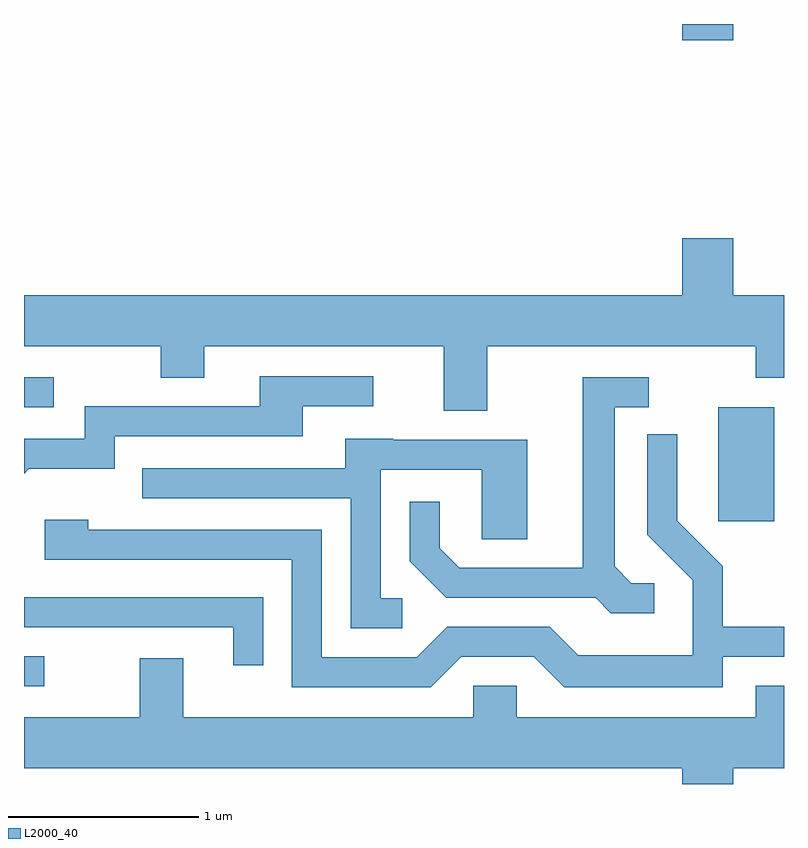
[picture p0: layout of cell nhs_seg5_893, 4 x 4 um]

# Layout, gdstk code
import gdstk
lib = gdstk.Library(unit=1e-6, precision=1e-09)
def R(c, l, rs):  # rectangles x0, y0, x1, y1
    for r in rs: c.add(gdstk.rectangle(r[:2], r[2:], *l))
def P(c, l, *ps):  # polygons
    for p in ps: c.add(gdstk.Polygon(p, *l))
L2000_40 = (2000, 40)

nhs_seg5_893 = lib.new_cell('nhs_seg5_893')
R(nhs_seg5_893, L2000_40, [(211.611,1430.586,211.718,1430.744), (215.266,1431.456,215.559,1432.054), (211.611,1432.056,211.768,1432.214), (215.076,1433.986,215.344,1434.072)])
P(nhs_seg5_893, L2000_40, [(214.049,1432.376),(215.461,1432.376),(215.461,1432.211),(215.611,1432.211),(215.611,1432.644),(215.344,1432.644),(215.344,1432.944),(215.076,1432.944),(215.076,1432.644),(211.611,1432.644),(211.611,1432.376),(212.331,1432.376),(212.331,1432.211),(212.559,1432.211),(212.559,1432.376),(213.821,1432.376),(213.821,1432.036),(214.049,1432.036)],
  [(211.637,1431.731),(212.089,1431.731),(212.089,1431.901),(213.079,1431.901),(213.079,1432.061),(213.448,1432.061),(213.448,1432.219),(212.851,1432.219),(212.851,1432.059),(211.931,1432.059),(211.931,1431.889),(211.611,1431.889),(211.611,1431.705)],
  [(214.928,1431.129),(214.807,1431.129),(214.719,1431.217),(214.719,1432.056),(214.898,1432.056),(214.898,1432.214),(214.551,1432.214),(214.551,1431.209),(213.902,1431.209),(213.799,1431.312),(213.799,1431.558),(213.641,1431.558),(213.641,1431.244),(213.834,1431.051),(214.619,1431.051),(214.699,1430.971),(214.928,1430.971)],
  [(213.912,1430.741),(214.294,1430.741),(214.454,1430.581),(215.289,1430.581),(215.289,1430.741),(215.611,1430.741),(215.611,1430.899),(215.289,1430.899),(215.289,1431.217),(215.049,1431.457),(215.049,1431.913),(214.891,1431.913),(214.891,1431.384),(215.131,1431.144),(215.131,1430.749),(214.527,1430.749),(214.377,1430.899),(213.839,1430.899),(213.679,1430.739),(213.179,1430.739),(213.179,1431.409),(211.949,1431.409),(211.949,1431.464),(211.721,1431.464),(211.721,1431.251),(213.021,1431.251),(213.021,1430.581),(213.752,1430.581)],
  [(213.603,1431.049),(213.489,1431.049),(213.489,1431.726),(214.021,1431.726),(214.021,1431.361),(214.259,1431.361),(214.259,1431.884),(213.555,1431.884),(213.555,1431.889),(213.301,1431.889),(213.301,1431.734),(212.233,1431.734),(212.233,1431.576),(213.331,1431.576),(213.331,1430.891),(213.603,1430.891)],
  [(212.869,1431.054),(211.611,1431.054),(211.611,1430.896),(212.711,1430.896),(212.711,1430.698),(212.869,1430.698)],
  [(215.344,1430.156),(215.611,1430.156),(215.611,1430.589),(215.461,1430.589),(215.461,1430.424),(214.204,1430.424),(214.204,1430.589),(213.976,1430.589),(213.976,1430.424),(212.449,1430.424),(212.449,1430.734),(212.221,1430.734),(212.221,1430.424),(211.611,1430.424),(211.611,1430.156),(215.076,1430.156),(215.076,1430.072),(215.344,1430.072)])

lib.write_gds('nhs_seg5_893.gds')
